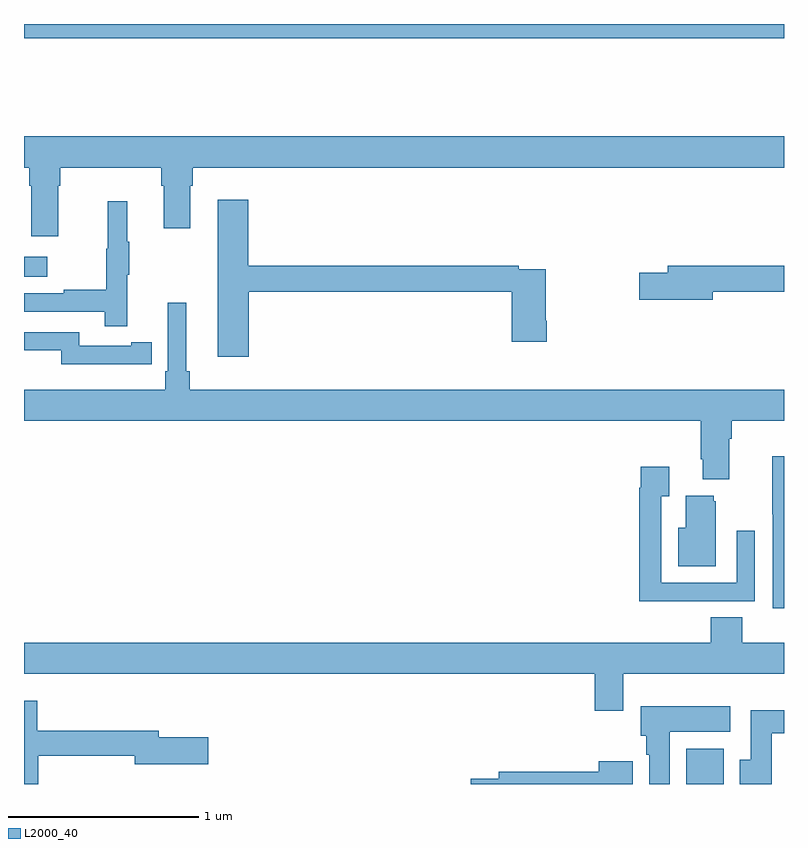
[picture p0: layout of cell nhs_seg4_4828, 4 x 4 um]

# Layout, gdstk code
import gdstk
lib = gdstk.Library(unit=1e-6, precision=1e-09)
def R(c, l, rs):  # rectangles x0, y0, x1, y1
    for r in rs: c.add(gdstk.rectangle(r[:2], r[2:], *l))
def P(c, l, *ps):  # polygons
    for p in ps: c.add(gdstk.Polygon(p, *l))
L2000_40 = (2000, 40)

nhs_seg4_4828 = lib.new_cell('nhs_seg4_4828')
R(nhs_seg4_4828, L2000_40, [(374.486,802.9,374.683,803.086), (371,805.571,371.122,805.675), (371,806.824,375,806.9)])
P(nhs_seg4_4828, L2000_40, [(371.179,806.048),(371.192,806.048),(371.192,806.144),(371.723,806.144),(371.723,806.048),(371.735,806.048),(371.735,805.824),(371.875,805.824),(371.875,806.048),(371.888,806.048),(371.888,806.144),(375,806.144),(375,806.308),(371,806.308),(371,806.144),(371.027,806.144),(371.027,806.048),(371.039,806.048),(371.039,805.782),(371.179,805.782)],
  [(372.184,805.492),(373.568,805.492),(373.568,805.227),(373.751,805.227),(373.751,805.339),(373.746,805.339),(373.746,805.608),(373.604,805.608),(373.604,805.628),(372.179,805.628),(372.179,805.975),(372.02,805.975),(372.02,805.148),(372.184,805.148)],
  [(371.543,805.579),(371.554,805.579),(371.554,805.753),(371.543,805.753),(371.543,805.966),(371.44,805.966),(371.44,805.716),(371.433,805.716),(371.433,805.502),(371.209,805.502),(371.209,805.482),(371,805.482),(371,805.386),(371.425,805.386),(371.425,805.308),(371.543,805.308)],
  [(374.626,805.492),(375,805.492),(375,805.628),(374.387,805.628),(374.387,805.592),(374.238,805.592),(374.238,805.45),(374.626,805.45)],
  [(374.713,804.716),(374.726,804.716),(374.726,804.812),(375,804.812),(375,804.976),(371.873,804.976),(371.873,805.072),(371.854,805.072),(371.854,805.432),(371.757,805.432),(371.757,805.072),(371.744,805.072),(371.744,804.976),(371,804.976),(371,804.812),(374.561,804.812),(374.561,804.61),(374.573,804.61),(374.573,804.503),(374.713,804.503)],
  [(371.564,805.11),(371.672,805.11),(371.672,805.226),(371.564,805.226),(371.564,805.206),(371.292,805.206),(371.292,805.278),(371,805.278),(371,805.182),(371.196,805.182),(371.196,805.109),(371.564,805.109)],
  [(375,804.626),(374.938,804.626),(374.938,804.319),(374.94,804.319),(374.94,803.826),(375,803.826)],
  [(374.531,803.862),(374.847,803.862),(374.847,804.232),(374.751,804.232),(374.751,803.958),(374.355,803.958),(374.355,804.415),(374.395,804.415),(374.395,804.571),(374.247,804.571),(374.247,804.458),(374.239,804.458),(374.239,803.861),(374.531,803.861)],
  [(374.641,804.387),(374.63,804.387),(374.63,804.418),(374.483,804.418),(374.483,804.25),(374.444,804.25),(374.444,804.047),(374.641,804.047)],
  [(374.615,803.777),(374.615,803.644),(371,803.644),(371,803.48),(374.003,803.48),(374.003,803.286),(374.155,803.286),(374.155,803.48),(375,803.48),(375,803.644),(374.78,803.644),(374.78,803.777)],
  [(371.074,803.05),(371.582,803.05),(371.582,803.003),(371.971,803.003),(371.971,803.145),(371.71,803.145),(371.71,803.179),(371.069,803.179),(371.069,803.338),(371,803.338),(371,802.9),(371.074,802.9)],
  [(374.398,803.174),(374.716,803.174),(374.716,803.308),(374.246,803.308),(374.246,803.154),(374.276,803.154),(374.276,803.054),(374.291,803.054),(374.291,802.9),(374.398,802.9)],
  [(374.935,803.168),(375,803.168),(375,803.287),(374.825,803.287),(374.825,803.028),(374.768,803.028),(374.768,802.9),(374.935,802.9)],
  [(374.203,803.02),(374.024,803.02),(374.024,802.964),(373.499,802.964),(373.499,802.928),(373.35,802.928),(373.35,802.9),(374.203,802.9)])

lib.write_gds('nhs_seg4_4828.gds')
